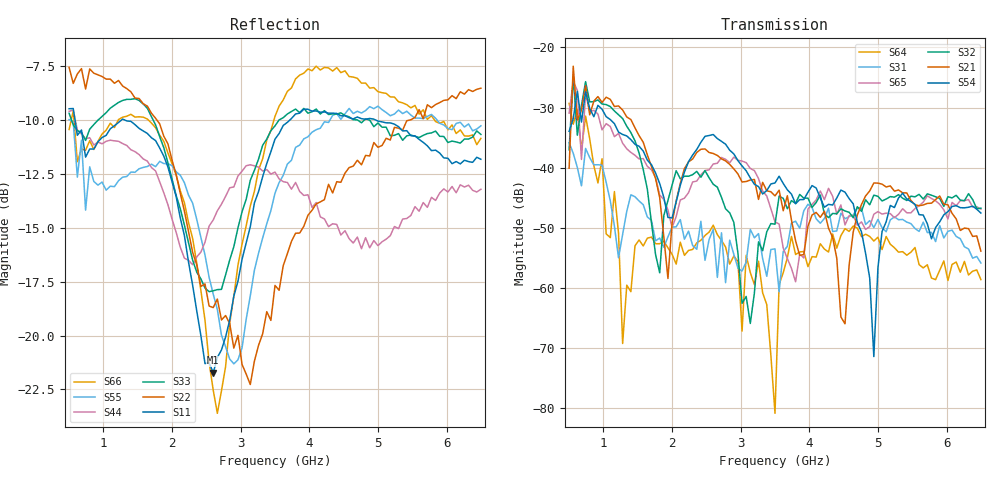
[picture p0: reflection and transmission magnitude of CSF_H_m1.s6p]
!Keysight Technologies,M9804A,MY58100912,A.14.10.03
!Date: Thursday, April 27, 2023 10:28:33
!Correction: S11(C  6-Port  )
!S12(C  6-Port  )
!S13(C  6-Port  )
!S14(C  6-Port  )
!S15(C  6-Port  )
!S16(C  6-Port  )
!S21(C  6-Port  )
!S22(C  6-Port  )
!S23(C  6-Port  )
!S24(C  6-Port  )
!S25(C  6-Port  )
!S26(C  6-Port  )
!S31(C  6-Port  )
!S32(C  6-Port  )
!S33(C  6-Port  )
!S34(C  6-Port  )
!S35(C  6-Port  )
!S36(C  6-Port  )
!S41(C  6-Port  )
!S42(C  6-Port  )
!S43(C  6-Port  )
!S44(C  6-Port  )
!S45(C  6-Port  )
!S46(C  6-Port  )
!S51(C  6-Port  )
!S52(C  6-Port  )
!S53(C  6-Port  )
!S54(C  6-Port  )
!S55(C  6-Port  )
!S56(C  6-Port  )
!S61(C  6-Port  )
!S62(C  6-Port  )
!S63(C  6-Port  )
!S64(C  6-Port  )
!S65(C  6-Port  )
!S66(C  6-Port  )
!S6P File: Measurement: :
# Hz S  RI  R 50
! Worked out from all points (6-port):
!   101 points, 500 MHz to 6.5 GHz, reference 50 ohm
!   strongest paths, dB at 500 MHz, 2 GHz, 3.5 GHz, 5 GHz, 6.5 GHz:
!     S54: -34.0, -48.4, -42.5, -56.6, -47.5
!     S21: -40.1, -49.2, -44.7, -42.6, -53.9
!     S32: -37.0, -42.9, -49.4, -44.8, -46.7
!     S65: -30.9, -50.0, -49.0, -47.3, -46.9
!     S31: -35.8, -49.9, -53.5, -48.6, -55.9
!     S64: -29.3, -54.4, -80.8, -51.6, -58.6
!   lowest |S11| = -21.7 dB at 2.6 GHz (marker M1), VSWR 1.18, Z = 42.7 + j1.98 ohm
!   |S11| at or under -10 dB: 585.7 MHz to 1.264 GHz (678.7 MHz wide, 73.4 % of centre); 1.309 GHz to 3.717 GHz (2.408 GHz wide, 95.8 % of centre); 4.966 GHz to end of sweep
